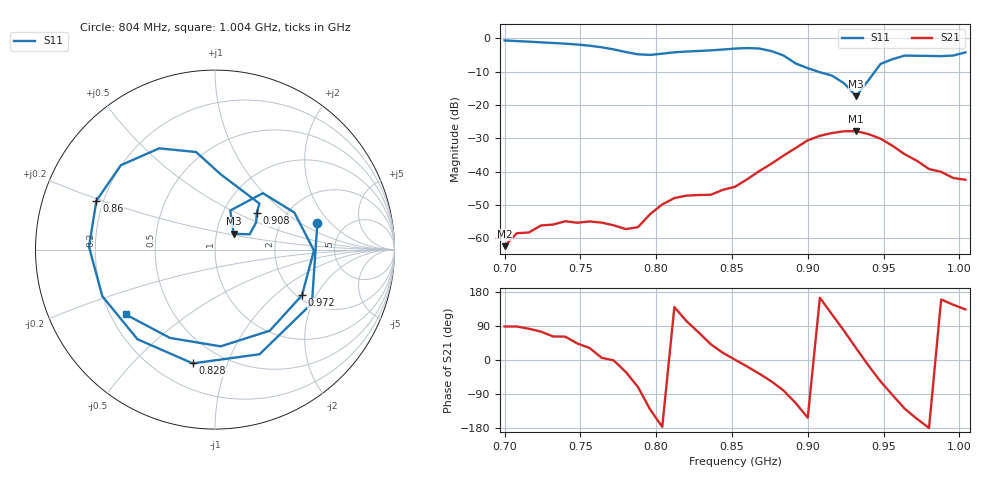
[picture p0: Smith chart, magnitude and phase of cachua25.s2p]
# Hz S RI R 50
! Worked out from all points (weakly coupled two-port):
!   39 points, 700 MHz to 1.004 GHz, reference 50 ohm
!   highest |S21| = -27.87 dB at 932 MHz (marker M1); lowest = -62.4 dB at 700 MHz (marker M2)
!   lowest |S11| = -17.4 dB at 932 MHz (marker M3), VSWR 1.31, Z = 60.4 + j10.8 ohm
!   |S11| at or under -10 dB: 906.9 MHz to 944.3 MHz (37.38 MHz wide, 4.04 % of centre)
!   S12 and S22 are empty: the file has one direction only
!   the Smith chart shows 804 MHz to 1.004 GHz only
!   S11 on the Smith chart (normalised r, x): 804 MHz: 3.16, +1.44; 828 MHz: 0.35, -0.76; 860 MHz: 0.17, +0.19; 908 MHz: 1.43, +0.65; 972 MHz: 2.12, -1.54; 1.004 GHz: 0.26, -0.30
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7e8  0.7638 0.5307  2.05e-05 0.000756  0 0  0 0
7.24e8  0.8316 -0.2591  0.000404 0.00149  0 0  0 0
7.4e8  0.4447 -0.7038  0.000852 0.00158  0 0  0 0
7.56e8  -0.1973 -0.7504  0.00151 0.000938  0 0  0 0
7.72e8  -0.6563 -0.1885  0.00155 -3.34e-05  0 0  0 0
7.8e8  -0.5784 0.2307  0.00116 -0.000719  0 0  0 0
7.88e8  -0.2245 0.5303  0.000465 -0.00138  0 0  0 0
7.96e8  0.2578 0.5016  -0.00149 -0.00174  0 0  0 0
8.04e8  0.5703 0.1483  -0.00319 -0.000197  0 0  0 0
8.2e8  0.2484 -0.583  -0.000941 0.00424  0 0  0 0
8.28e8  -0.1242 -0.6339  0.00131 0.00424  0 0  0 0
8.52e8  -0.702 0.0159  0.00589 7.82e-05  0 0  0 0
8.6e8  -0.6608 0.2727  0.00729 -0.00226  0 0  0 0
8.76e8  -0.3106 0.5643  0.00726 -0.0109  0 0  0 0
9e8  0.2473 0.2566  -0.026 -0.0136  0 0  0 0
9.08e8  0.2331 0.2044  -0.0331 0.00919  0 0  0 0
9.32e8  0.1031 0.0881  0.0347 0.0206  0 0  0 0
9.48e8  0.2667 0.3146  0.0172 -0.0259  0 0  0 0
9.56e8  0.4422 0.2063  -0.00121 -0.0242  0 0  0 0
9.72e8  0.4847 -0.2545  -0.0132 -0.00608  0 0  0 0
9.88e8  0.0314 -0.539  -0.00927 0.00342  0 0  0 0
1.004e9  -0.4981 -0.3611  -0.00518 0.00545  0 0  0 0
